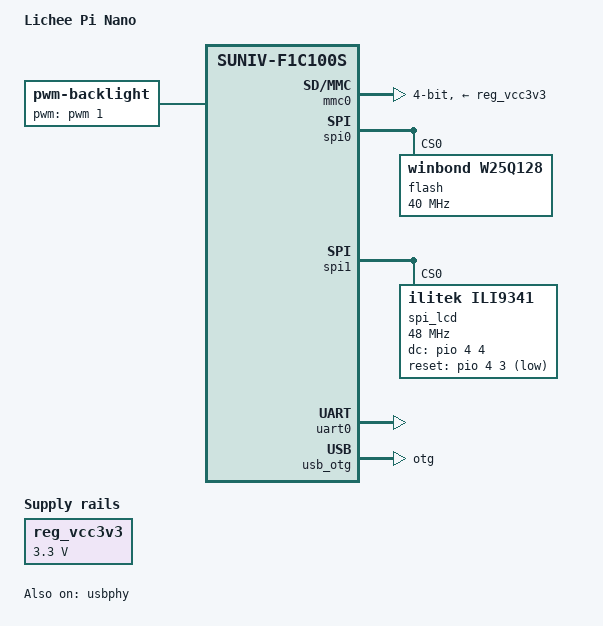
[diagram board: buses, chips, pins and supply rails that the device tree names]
// SPDX-License-Identifier: (GPL-2.0+ OR X11)
/*
 * Copyright 2018 Icenowy Zheng <icenowy@aosc.io>
 */

/dts-v1/;
#include "suniv-f1c100s.dtsi"

#include <dt-bindings/gpio/gpio.h>

/ {
	model = "Lichee Pi Nano";
	compatible = "licheepi,licheepi-nano", "allwinner,suniv-f1c100s";

	aliases {
		serial0 = &uart0;
		spi0 = &spi0;
	};

	chosen {
		stdout-path = "serial0:115200n8";
	};

	reg_vcc3v3: vcc3v3 {
		compatible = "regulator-fixed";
		regulator-name = "vcc3v3";
		regulator-min-microvolt = <3300000>;
		regulator-max-microvolt = <3300000>;
	};

	backlight: backlight {
		compatible = "pwm-backlight";
		pwms = <&pwm 1 50000 0>;
		brightness-levels = <0 4 8 16 32 64 128 255>;
		default-brightness-level = <8>;
	};
};

&mmc0 {
	vmmc-supply = <&reg_vcc3v3>;
	bus-width = <4>;
	broken-cd;
	status = "okay";
};

&otg_sram {
	status = "okay";
};

&spi0 {
	pinctrl-names = "default";
	pinctrl-0 = <&spi0_pins_a>;
	status = "okay";

	flash@0 {
		#address-cells = <1>;
		#size-cells = <1>;
		compatible = "winbond,w25q128", "jedec,spi-nor";
		reg = <0>;
		spi-max-frequency = <40000000>;
	};
};

&spi1 {
	pinctrl-names = "default";
	pinctrl-0 = <&spi1_pins_a>;
	status = "okay";

	spi_lcd@0 {
		#address-cells = <1>;
		#size-cells = <1>;
		rotate = <90>;
		fps = <30>;
		buswidth = <8>;
		bgr;
		dc-gpios = <&pio 4 4 GPIO_ACTIVE_HIGH>; //PE4
		reset-gpios = <&pio 4 3 GPIO_ACTIVE_LOW>; //PE3
		debug = <0x0>;
		compatible = "ilitek,ili9341";
		reg = <0>;
		spi-max-frequency = <48000000>;
	};
};

&uart0 {
	pinctrl-names = "default";
	pinctrl-0 = <&uart0_pe_pins>;
	status = "okay";
};

&usb_otg {
	dr_mode = "otg";
	status = "okay";
};

&usbphy {
	usb0_id_det-gpio = <&pio 4 2 GPIO_ACTIVE_HIGH>; /* PE2 */
	status = "okay";
};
